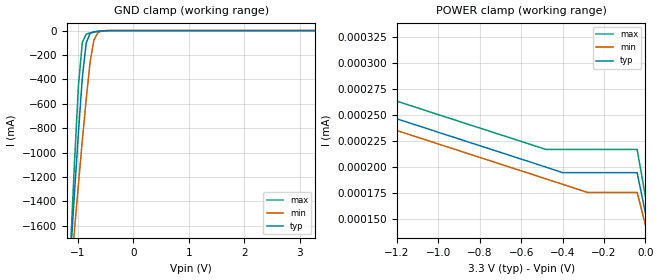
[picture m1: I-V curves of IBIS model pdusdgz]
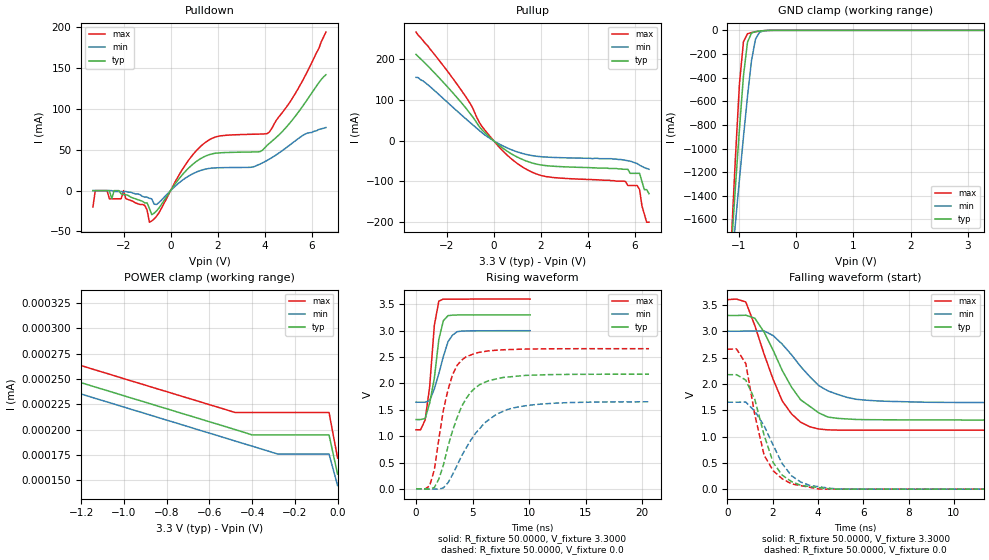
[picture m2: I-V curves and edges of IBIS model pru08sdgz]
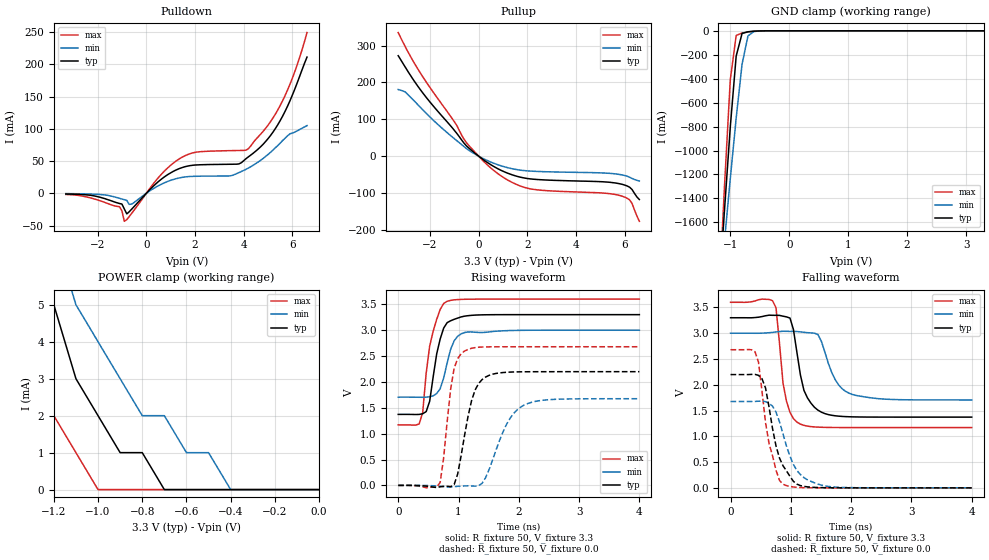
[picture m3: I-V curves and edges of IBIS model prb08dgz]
[IBIS ver]   4.1
[File name]   ksz9031rnx_3v3.ibs
[File rev]   0.3
[Date]   November 28, 2012
[Source]   Made by TSMC 65nm IBIS model file
[Notes]   This model is for DVDDH (IO power) at 3.3V.  For different
   IO voltage, use the appropriate model.
[Disclaimer]  This information is for modeling purpose only and is
   not guaranteed
[Copyright]   Copyright 2012, Micrel - LAN Solutions, All Rights Reserved.
|   Component ksz9031rnx_3v3
[Component]   ksz9031rnx_3v3
[Manufacturer]  Micrel
[Package]
|variable   typical   Min   Max
R_pkg   1.46e-01   1.25e-01   1.67e-01
L_pkg   1.45e-09   1.19e-09   1.72e-09
C_pkg   1.74e-13   1.63e-13   1.85e-13
|   Note:   48 pin MLF package
[pin]   signal_name   model_name   R_pin   L_pin   C_pin
1   AVDDH   POWER
2   TXRXP_A   NC
3   TXRXM_A   NC
4   AVDDL   POWER
5   TXRXP_B   NC
6   TXRXM_B   NC
7   TXRXP_C   NC
8   TXRXM_C   NC
9   AVDDL   POWER
10   TXRXP_D   NC
11   TXRXM_D   NC
12   AVDDH   POWER
13   NC   NC
14   DVDDL   POWER
15   LED2   prb08dgz
16   DVDDH   POWER
17   LED1   prb08dgz
18   DVDDL   POWER
19   TXD0   prb08dgz
20   TXD1   prb08dgz
21   TXD2   prb08dgz
22   TXD3   prb08dgz
23   DVDDL   POWER
24   GTX_CLK   prb08dgz
25   TX_EN   prb08dgz
26   DVDDL   POWER
27   RXD3   prb08dgz
28   RXD2   prb08dgz
29   VSS   GND
30   DVDDL   POWER
31   RXD1   prb08dgz
32   RXD0   prb08dgz
33   RX_DV   prb08dgz
34   DVDDH   POWER
35   RX_CLK   prb08dgz
36   MDC   pru08sdgz
37   MDIO   pru08sdgz
38   INT_N   prb08dgz
39   DVDDL   POWER
40   DVDDH   POWER
41   CLK125_NDO   prb08dgz
42   RESET_N   pdusdgz
43   LDO_O   NC
44   AVDDL_PLL   POWER
45   XO   NC
46   XI   NC
47   NC   NC
48   ISET   NC
| Models and submodels in the file (3): pdusdgz (Input), pru08sdgz (I/O), prb08dgz (I/O)
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|   Model pdusdgz
[Model]  pdusdgz
Model_type Input
Polarity   Non-Inverting
Vinl =   1.3V
Vinh =   2.0V
C_comp   3.4332pF   3.3136pF   3.5551pF
[Temperature Range]   25.0000   0.1250k   -40.0000
[Voltage Range]   3.3000V   3.0000V   3.6000V
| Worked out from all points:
|   GND clamp passes 1 mA (typ) near -0.50 V on its own axis
|   POWER clamp passes 1 mA (typ) near -3.14 V on its own axis
[GND_clamp]
|Voltage   I(typ)   I(min)   I(max)
-3.3V     -18.8A     -14.27A    -25.24A
-1.13V    -1.833A    -2.005A    -1.758A
-1.06V    -1.323A    -1.629A    -1.073A
-990mV    -833.7mA   -1.26A     -452.1mA
-920mV    -386mA     -901.5mA   -95.53mA
-850mV    -101.2mA   -561.6mA   -28.93mA
-780mV    -22.88mA   -257.9mA   -19.13mA
-710mV    -10.53mA   -75.08mA   -12.5mA
-640mV    -5.867mA   -17mA      -7.033mA
-570mV    -2.738mA   -4.593mA   -3.011mA
3.28V     112nA      6.176uA    960nA
[POWER_clamp]
|Voltage   I(typ)   I(min)   I(max)
-3.28V    87.8mA     376.6nA    5.3A
-2.56V    336.5nA    325nA      92.18mA
-2.4V     325.4nA    314nA      74.15uA
-2.16V    309.1nA    297.9nA    326.9nA
-2.12V    306.4nA    295.2nA    323.6nA
-1.68V    277.4nA    266.2nA    294.3nA
-480mV    200nA      188.7nA    216.9nA
-400mV    194.7nA    183.6nA    216.9nA
-280mV    194.7nA    175.8nA    216.9nA
-40mV     194.7nA    175.8nA    216.9nA
0V        155.9nA    144.7nA    171.8nA
|   Model pru08sdgz
[Model]  pru08sdgz
Model_type I/O
Polarity   Non-Inverting
Enable   Active-Low
Vinl =   1.3V
Vinh =   2.0V
Vmeas =  1.65V
Cref =   15pF
Rref =   1.0000M
Vref =   0.0V
C_comp   3.2252pF   3.1366pF   3.3214pF
[Temperature Range]   25.0000   0.1250k   -40.0000
[Voltage Range]   3.3000V   3.0000V   3.6000V
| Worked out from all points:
|   slope of the pulldown table from 0 to 0.495 V, typ, clamps not added: 25.8 ohm
|   slope of the pullup table from 0 to 0.495 V, typ, clamps not added: 22 ohm
|   GND clamp passes 1 mA (typ) near -0.50 V on its own axis
|   POWER clamp passes 1 mA (typ) near -3.14 V on its own axis
|   rising waveform, R_fixture 50.0000, V_fixture 3.3000: 20-80 % time 814ps typ, 1.09ns min, 618ps max; typ from 1.31 V to 3.3 V
|   rising waveform, R_fixture 50.0000, V_fixture 0.0: 20-80 % time 2.13ns typ, 3.13ns min, 1.44ns max; typ from 0.001 V to 2.17 V
|   falling waveform, R_fixture 50.0000, V_fixture 3.3000: 20-80 % time 1.5ns typ, 1.77ns min, 1.31ns max; typ from 3.3 V to 1.31 V
|   falling waveform, R_fixture 50.0000, V_fixture 0.0: 20-80 % time 969ps typ, 1.25ns min, 856ps max; typ from 2.17 V to 0.001 V
[Pulldown]
|Voltage   I(typ)   I(min)   I(max)
-3.3V     0A         0A         -20mA
-3.2V     0A         0A         0A
-2.6V     0A         0A         -10mA
-2.5V     -10mA      0A         -10mA
-2V       -5mA       -2mA       0A
-1V       -15mA      -8mA       -23.7mA
-800mV    -29.42mA   -10.1mA    -37.14mA
-600mV    -24.93mA   -16.93mA   -31.55mA
600mV     22.65mA    14.73mA    30.34mA
1.5V      42.45mA    26.41mA    59.42mA
4.2V      57.92mA    38.58mA    71.82mA
6.6V      141.8mA    77.19mA    194mA
[Pullup]
|Voltage   I(typ)   I(min)   I(max)
-3.3V     212.2mA    155.8mA    267mA
-1.4V     95.51mA    65mA       126.2mA
-500mV    27.05mA    19.92mA    35.5mA
800mV     -33.69mA   -23.09mA   -46.69mA
2.1V      -60.18mA   -39.55mA   -86.46mA
5.7V      -70mA      -49mA      -110mA
6.1V      -80mA      -56mA      -110mA
6.2V      -80mA      -60mA      -120mA
6.3V      -100mA     -63mA      -160mA
6.4V      -120mA     -66mA      -180mA
6.5V      -120mA     -68mA      -200mA
6.6V      -130mA     -70mA      -200mA
[GND_clamp]
|Voltage   I(typ)   I(min)   I(max)
-3.3V     -18.8A     -14.27A    -25.23A
-1.13V    -1.833A    -2.005A    -1.758A
-1.06V    -1.323A    -1.629A    -1.073A
-990mV    -833.7mA   -1.26A     -452.1mA
-920mV    -386mA     -901.5mA   -95.53mA
-850mV    -101.2mA   -561.6mA   -28.93mA
-780mV    -22.88mA   -257.9mA   -19.13mA
-710mV    -10.53mA   -75.08mA   -12.5mA
-640mV    -5.867mA   -17mA      -7.033mA
-570mV    -2.738mA   -4.593mA   -3.011mA
3.28V     112nA      4.176uA    960nA
[POWER_clamp]
|Voltage   I(typ)   I(min)   I(max)
-3.28V    87.8mA     376.6nA    5.3A
-2.56V    336.5nA    325nA      92.18mA
-2.4V     325.4nA    314nA      74.15uA
-2.16V    309.1nA    297.9nA    326.9nA
-2.12V    306.4nA    295.2nA    323.6nA
-1.68V    277.4nA    266.2nA    294.3nA
-480mV    200nA      188.7nA    216.9nA
-400mV    194.7nA    183.6nA    216.9nA
-280mV    194.7nA    175.8nA    216.9nA
-40mV     194.7nA    175.8nA    216.9nA
0V        155.9nA    144.7nA    171.8nA
[Ramp]
| variable   typ   min   max
dV/dt_r  1.3042/2.1053n   0.9906/3.1091n   1.5938/1.4308n
dV/dt_f  1.1916/1.4861n   0.8142/1.7543n   1.4874/1.2958n
R_load = 50.0000
[Rising Waveform]
R_fixture= 50.0000
V_fixture= 3.3000
V_fixture_min= 3.0000
V_fixture_max= 3.6000
L_fixture= 0.0H
C_fixture= 0.0F
|time   V(typ)   V(min)   V(max)
0s        1.314V     1.643V     1.121V
400ps     1.314V     1.643V     1.12V
810ps     1.335V     1.643V     1.307V
1.21ns    1.629V     1.674V     1.941V
1.62ns    2.095V     1.896V     3.1V
2.02ns    2.835V     2.186V     3.56V
2.42ns    3.189V     2.511V     3.599V
2.83ns    3.285V     2.792V     3.597V
3.64ns    3.297V     2.981V     3.598V
10.1ns    3.299V     2.999V     3.599V
|10.51nS   3.2990V   2.9990V   3.5990V
|10.91nS   3.2990V   2.9990V   3.5990V
|11.31nS   3.2990V   2.9990V   3.6000V
|11.72nS   3.2990V   2.9990V   3.6000V
|12.12nS   3.2990V   2.9990V   3.6000V
|12.53nS   3.2990V   2.9990V   3.6000V
|12.93nS   3.2990V   2.9990V   3.6000V
|13.33nS   3.3000V   2.9990V   3.6000V
|13.74nS   3.3000V   2.9990V   3.6000V
|14.14nS   3.3000V   2.9990V   3.6000V
|14.55nS   3.3000V   2.9990V   3.6000V
|14.95nS   3.3000V   2.9990V   3.6000V
|15.35nS   3.3000V   2.9990V   3.6000V
|15.76nS   3.3000V   2.9990V   3.6000V
|16.16nS   3.3000V   3.0000V   3.6000V
|16.57nS   3.3000V   3.0000V   3.6000V
|16.97nS   3.3000V   3.0000V   3.6000V
|17.37nS   3.3000V   3.0000V   3.6000V
|17.78nS   3.3000V   3.0000V   3.6000V
|18.18nS   3.3000V   3.0000V   3.6000V
|18.59nS   3.3000V   3.0000V   3.6000V
|18.99nS   3.3000V   3.0000V   3.6000V
|19.39nS   3.3000V   3.0000V   3.6000V
|19.80nS   3.3000V   3.0000V   3.6000V
|20.20nS   3.3000V   3.0000V   3.6000V
|20.61nS   3.3000V   3.0000V   3.6000V
|21.01nS   3.3000V   3.0000V   3.6000V
|21.41nS   3.3000V   3.0000V   3.6000V
|21.82nS   3.3000V   3.0000V   3.6000V
|22.22nS   3.3000V   3.0000V   3.6000V
|22.63nS   3.3000V   3.0000V   3.6000V
|23.03nS   3.3000V   3.0000V   3.6000V
|23.43nS   3.3000V   3.0000V   3.6000V
|23.84nS   3.3000V   3.0000V   3.6000V
|24.24nS   3.3000V   3.0000V   3.6000V
|24.65nS   3.3000V   3.0000V   3.6000V
|25.05nS   3.3000V   3.0000V   3.6000V
|25.45nS   3.3000V   3.0000V   3.6000V
|25.86nS   3.3000V   3.0000V   3.6000V
|26.26nS   3.3000V   3.0000V   3.6000V
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[Rising Waveform]
R_fixture= 50.0000
V_fixture= 0.0
V_fixture_min= 0.0
V_fixture_max= 0.0
L_fixture= 0.0H
C_fixture= 0.0F
|time   V(typ)   V(min)   V(max)
0s        1.339mV    1.007mV    1.737mV
1.21ns    -3.094mV   -2.307mV   59.94mV
1.62ns    25.51mV    -2.665mV   361.7mV
2.02ns    185.5mV    -5.614mV   947.7mV
2.83ns    806.6mV    115.2mV    1.879V
3.64ns    1.355V     447.6mV    2.344V
4.44ns    1.715V     777.3mV    2.506V
6.06ns    2.02V      1.248V     2.605V
8.48ns    2.128V     1.528V     2.643V
20.61ns   2.175V     1.651V     2.658V
|21.01nS   2.1750V   1.6510V   2.6580V
|21.41nS   2.1750V   1.6510V   2.6580V
|21.82nS   2.1750V   1.6510V   2.6580V
|22.22nS   2.1750V   1.6520V   2.6580V
|22.63nS   2.1750V   1.6520V   2.6580V
|23.03nS   2.1750V   1.6520V   2.6580V
|23.43nS   2.1750V   1.6520V   2.6580V
|23.84nS   2.1750V   1.6520V   2.6580V
|24.24nS   2.1750V   1.6520V   2.6580V
|24.65nS   2.1750V   1.6520V   2.6580V
|25.05nS   2.1750V   1.6520V   2.6580V
|25.45nS   2.1750V   1.6520V   2.6580V
|25.86nS   2.1750V   1.6520V   2.6580V
|26.26nS   2.1750V   1.6520V   2.6580V
|26.67nS   2.1750V   1.6520V   2.6580V
|27.07nS   2.1750V   1.6520V   2.6580V
|27.47nS   2.1750V   1.6520V   2.6580V
|27.88nS   2.1750V   1.6520V   2.6580V
|28.28nS   2.1750V   1.6520V   2.6580V
|28.69nS   2.1750V   1.6520V   2.6580V
|29.09nS   2.1750V   1.6520V   2.6580V
|29.49nS   2.1750V   1.6520V   2.6580V
|29.90nS   2.1750V   1.6520V   2.6580V
|30.30nS   2.1750V   1.6520V   2.6580V
|30.71nS   2.1750V   1.6520V   2.6580V
|31.11nS   2.1750V   1.6520V   2.6580V
|31.52nS   2.1750V   1.6520V   2.6580V
|31.92nS   2.1750V   1.6520V   2.6580V
|32.32nS   2.1750V   1.6520V   2.6580V
|32.73nS   2.1750V   1.6520V   2.6580V
|33.13nS   2.1750V   1.6520V   2.6580V
|33.54nS   2.1750V   1.6520V   2.6580V
|33.94nS   2.1750V   1.6520V   2.6580V
|34.34nS   2.1750V   1.6520V   2.6580V
|34.75nS   2.1750V   1.6520V   2.6580V
|35.15nS   2.1750V   1.6520V   2.6580V
|35.56nS   2.1750V   1.6520V   2.6580V
|35.96nS   2.1750V   1.6520V   2.6580V
|36.36nS   2.1750V   1.6520V   2.6580V
|36.77nS   2.1750V   1.6520V   2.6580V
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[Falling Waveform]
R_fixture= 50.0000
V_fixture= 3.3000
V_fixture_min= 3.0000
V_fixture_max= 3.6000
L_fixture= 0.0H
C_fixture= 0.0F
|time   V(typ)   V(min)   V(max)
0s        3.3V       3V         3.6V
810ps     3.304V     3.002V     3.556V
1.21ns    3.247V     3.004V     3.107V
1.62ns    2.984V     3.005V     2.563V
2.42ns    2.255V     2.755V     1.677V
3.23ns    1.699V     2.332V     1.273V
3.64ns    1.573V     2.136V     1.186V
4.44ns    1.37V      1.867V     1.127V
6.06ns    1.321V     1.693V     1.122V
17.78ns   1.314V     1.643V     1.121V
|18.18nS   1.3140V   1.6430V   1.1210V
|18.59nS   1.3140V   1.6430V   1.1210V
|18.99nS   1.3140V   1.6430V   1.1210V
|19.39nS   1.3140V   1.6430V   1.1210V
|19.80nS   1.3140V   1.6430V   1.1210V
|20.20nS   1.3140V   1.6430V   1.1210V
|20.61nS   1.3140V   1.6430V   1.1210V
|21.01nS   1.3140V   1.6430V   1.1210V
|21.41nS   1.3140V   1.6430V   1.1210V
|21.82nS   1.3140V   1.6430V   1.1210V
|22.22nS   1.3140V   1.6430V   1.1210V
|22.63nS   1.3140V   1.6430V   1.1210V
|23.03nS   1.3140V   1.6430V   1.1210V
|23.43nS   1.3140V   1.6430V   1.1210V
|23.84nS   1.3140V   1.6430V   1.1210V
|24.24nS   1.3140V   1.6430V   1.1210V
|24.65nS   1.3140V   1.6430V   1.1210V
|25.05nS   1.3140V   1.6430V   1.1210V
|25.45nS   1.3140V   1.6430V   1.1210V
|25.86nS   1.3140V   1.6430V   1.1210V
|26.26nS   1.3140V   1.6430V   1.1210V
|26.67nS   1.3140V   1.6430V   1.1210V
|27.07nS   1.3140V   1.6430V   1.1210V
|27.47nS   1.3140V   1.6430V   1.1210V
|27.88nS   1.3140V   1.6430V   1.1210V
|28.28nS   1.3140V   1.6430V   1.1210V
|28.69nS   1.3140V   1.6430V   1.1210V
|29.09nS   1.3140V   1.6430V   1.1210V
|29.49nS   1.3140V   1.6430V   1.1210V
|29.90nS   1.3140V   1.6430V   1.1210V
|30.30nS   1.3140V   1.6430V   1.1210V
|30.71nS   1.3140V   1.6430V   1.1210V
|31.11nS   1.3140V   1.6430V   1.1210V
|31.52nS   1.3140V   1.6430V   1.1210V
|31.92nS   1.3140V   1.6430V   1.1210V
|32.32nS   1.3140V   1.6430V   1.1210V
|32.73nS   1.3140V   1.6430V   1.1210V
|33.13nS   1.3140V   1.6430V   1.1210V
|33.54nS   1.3140V   1.6430V   1.1210V
|33.94nS   1.3140V   1.6430V   1.1210V
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[Falling Waveform]
R_fixture= 50.0000
V_fixture= 0.0
V_fixture_min= 0.0
V_fixture_max= 0.0
L_fixture= 0.0H
C_fixture= 0.0F
|time   V(typ)   V(min)   V(max)
0s        2.175V     1.652V     2.658V
400ps     2.175V     1.652V     2.664V
810ps     2.072V     1.654V     2.386V
1.21ns    1.701V     1.481V     1.41V
1.62ns    1.027V     1.204V     645.6mV
2.02ns    506.5mV    835mV      350.7mV
2.83ns    145.5mV    255mV      101.7mV
3.64ns    50.25mV    72.13mV    36.57mV
4.85ns    1.364mV    4.832mV    1.982mV
16.16ns   1.339mV    999uV      1.735mV
|   Model prb08dgz
[Model]   prb08dgz
Model_type   I/O
Polarity   Non-Inverting
Enable   Active-Low
Vinl =   1.3V
Vinh =   2.0V
Vmeas =  1.65V
Cref =   15pF
Rref =   1.0000M
Vref =   0.0V
C_comp   3.2245pF   3.1358pF   3.3206pF
[Temperature Range]   25.0000   0.1250k   -40.0000
[Voltage Range]   3.3000V   3.0000V   3.6000V
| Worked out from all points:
|   slope of the pulldown table from 0 to 0.495 V, typ, clamps not added: 27.3 ohm
|   slope of the pullup table from 0 to 0.495 V, typ, clamps not added: 21.4 ohm
|   GND clamp passes 1 mA (typ) near -0.50 V on its own axis
|   POWER clamp passes 1 mA (typ) near -0.80 V on its own axis
|   rising waveform, R_fixture 50, V_fixture 3.3: 20-80 % time 181ps typ, 186ps min, 189ps max; typ from 1.37 V to 3.3 V
|   rising waveform, R_fixture 50, V_fixture 0.0: 20-80 % time 229ps typ, 366ps min, 157ps max; typ from 0 V to 2.2 V
|   falling waveform, R_fixture 50, V_fixture 3.3: 20-80 % time 207ps typ, 284ps min, 149ps max; typ from 3.3 V to 1.37 V
|   falling waveform, R_fixture 50, V_fixture 0.0: 20-80 % time 258ps typ, 308ps min, 220ps max; typ from 2.2 V to 0 V
[Pulldown]
| voltage   I(typ)   I(min)   I(max)
-3.3V     -1mA       -400uA     -1.7mA
-1.1V     -15.7mA    -7.7mA     -20.7mA
-900mV    -24.2mA    -9.8mA     -43.3mA
-600mV    -24.5mA    -16.7mA    -31mA
500mV     18.3mA     11.9mA     24.5mA
1.4V      39mA       24.3mA     54.5mA
3.8V      45.6mA     32.1mA     66.4mA
4.2V      56.8mA     39.4mA     69.5mA
5V        84.8mA     60.3mA     105.7mA
5.6V      119.8mA    81.9mA     143.7mA
6.1V      161.8mA    95mA       188.9mA
6.6V      211.2mA    105mA      249.2mA
[Pullup]
| voltage   I(typ)   I(min)   I(max)
-3.3V     272.6mA    180.8mA    335.4mA
-3V       240.4mA    173.7mA    295.6mA
-2.5V     190.3mA    140mA      237.2mA
-1V       70.3mA     47.6mA     93.8mA
-600mV    35.3mA     25.9mA     46mA
100mV     -5.1mA     -3.6mA     -7mA
700mV     -31mA      -21.3mA    -43mA
1.4V      -51.3mA    -34.6mA    -72.2mA
2.1V      -61.7mA    -40.5mA    -88.6mA
5.9V      -76.7mA    -51.2mA    -109mA
6.3V      -90.7mA    -60.8mA    -128.5mA
6.6V      -117.9mA   -67.7mA    -177mA
[GND_clamp]
| voltage   I(typ)   I(min)   I(max)
-3.3V     -18.8A     -14.26A    -25.21A
-1.2V     -2.252A    -2.309A    -2.322A
-1.1V     -1.51A     -1.765A    -1.314A
-1V       -804mA     -1.235A    -410mA
-900mV    -211mA     -729mA     -39mA
-800mV    -22mA      -279mA     -18mA
-700mV    -8mA       -43mA      -10mA
-600mV    -3mA       -6mA       -4mA
-400mV    0A         0A         0A
3.3V      0A         0A         0A
[POWER_clamp]
| voltage   I(typ)   I(min)   I(max)
-3.3V     139mA      52mA       3.053A
-1.5V     9mA        11mA       6mA
-1.4V     7mA        9mA        5mA
-1.3V     6mA        8mA        3mA
-1.2V     5mA        7mA        2mA
-1.1V     3mA        5mA        1mA
-1V       2mA        4mA        0A
-900mV    1mA        3mA        0A
-800mV    1mA        2mA        0A
-700mV    0A         2mA        0A
-400mV    0A         0A         0A
0V        0A         0A         0A
[Ramp]
| variable   typ   min   max
dV/dt_r   1.157/173.80p   0.777/177.99p   1.458/184.58p
dV/dt_f   1.157/204.10p   0.777/281.15p   1.458/143.56p
R_load = 50
[Rising Waveform]
R_fixture = 50
V_fixture = 3.3
V_fixture_min = 3.0
V_fixture_max = 3.6
L_fixture = 0.0H
C_fixture = 0.0F
| time   V(typ)   V(Min)   V(max)
0s        1.372V     1.705V     1.17V
348ps     1.372V     1.703V     1.188V
406ps     1.384V     1.703V     1.408V
464ps     1.426V     1.705V     2.171V
522ps     1.627V     1.713V     2.693V
638ps     2.54V      1.775V     3.209V
812ps     3.146V     2.368V     3.558V
928ps     3.209V     2.795V     3.586V
1.101ns   3.271V     2.954V     3.597V
4ns       3.3V       3V         3.6V
[Rising Waveform]
R_fixture = 50
V_fixture = 0.0
V_fixture_min = 0.0
V_fixture_max = 0.0
L_fixture = 0.0H
C_fixture = 0.0F
| time   V(typ)   V(Min)   V(max)
0s        0V         0V         0V
696ps     -27.9mV    -15.4mV    56.8mV
870ps     -25.2mV    -32mV      1.861V
928ps     16.9mV     -25.7mV    2.266V
1.101ns   970.5mV    -9.9mV     2.597V
1.217ns   1.639V     -11.5mV    2.65V
1.391ns   2.045V     40.4mV     2.674V
1.797ns   2.186V     1.179V     2.679V
2.087ns   2.196V     1.552V     2.679V
4ns       2.197V     1.675V     2.68V
[Falling Waveform]
R_fixture = 50
V_fixture = 3.3
V_fixture_min = 3.0
V_fixture_max = 3.6
| time   V(typ)   V(Min)   V(max)
0s        3.3V       3V         3.6V
696ps     3.348V     3.016V     3.631V
754ps     3.347V     3.025V     3.495V
870ps     3.33V      3.038V     2.034V
928ps     3.317V     3.037V     1.68V
1.043ns   3.072V     3.035V     1.344V
1.159ns   2.189V     3.026V     1.236V
1.391ns   1.564V     3.001V     1.182V
1.971ns   1.379V     1.834V     1.17V
4ns       1.372V     1.705V     1.17V
[Falling Waveform]
R_fixture = 50
V_fixture = 0.0
V_fixture_min = 0.0
V_fixture_max = 0.0
| time   V(typ)   V(Min)   V(max)
0s        2.197V     1.675V     2.68V
406ps     2.201V     1.677V     2.64V
464ps     2.183V     1.681V     2.437V
580ps     1.939V     1.672V     1.268V
638ps     1.571V     1.641V     862.5mV
754ps     813.2mV    1.469V     344.2mV
870ps     429.5mV    1.046V     70.8mV
1.101ns   72.4mV     336.6mV    10.7mV
1.507ns   4.5mV      52.8mV     500uV
4ns       0V         0V         0V
